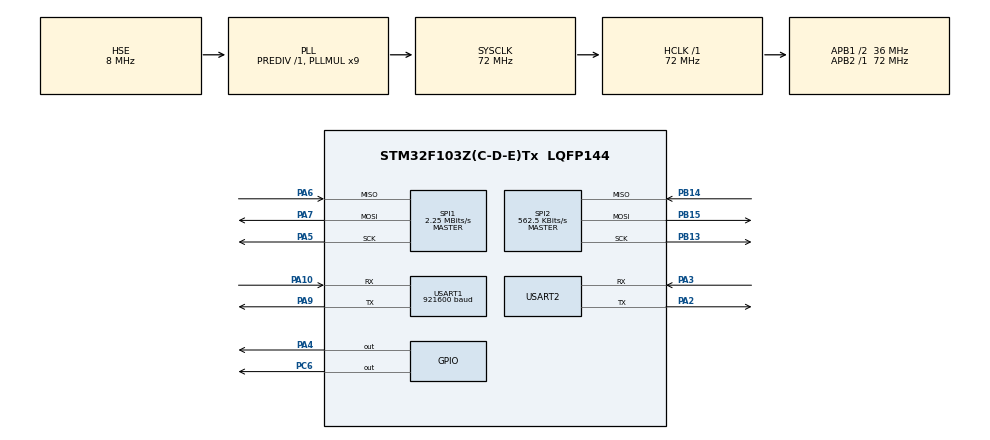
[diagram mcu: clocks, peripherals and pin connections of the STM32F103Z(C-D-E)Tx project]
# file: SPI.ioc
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Dma.Request0=USART1_RX
Dma.Request1=USART1_TX
Dma.Request2=SPI1_RX
Dma.Request3=SPI1_TX
Dma.SPI1_RX.2.Direction=DMA_PERIPH_TO_MEMORY
Dma.SPI1_RX.2.Instance=DMA1_Channel2
Dma.SPI1_RX.2.MemDataAlignment=DMA_MDATAALIGN_BYTE
Dma.SPI1_RX.2.MemInc=DMA_MINC_ENABLE
Dma.SPI1_RX.2.Mode=DMA_NORMAL
Dma.SPI1_RX.2.PeriphDataAlignment=DMA_PDATAALIGN_BYTE
Dma.SPI1_RX.2.PeriphInc=DMA_PINC_DISABLE
Dma.SPI1_RX.2.Priority=DMA_PRIORITY_HIGH
Dma.SPI1_TX.3.Direction=DMA_MEMORY_TO_PERIPH
Dma.SPI1_TX.3.Instance=DMA1_Channel3
Dma.SPI1_TX.3.MemDataAlignment=DMA_MDATAALIGN_BYTE
Dma.SPI1_TX.3.MemInc=DMA_MINC_ENABLE
Dma.SPI1_TX.3.Mode=DMA_NORMAL
Dma.SPI1_TX.3.PeriphDataAlignment=DMA_PDATAALIGN_BYTE
Dma.SPI1_TX.3.PeriphInc=DMA_PINC_DISABLE
Dma.SPI1_TX.3.Priority=DMA_PRIORITY_HIGH
Dma.USART1_RX.0.Direction=DMA_PERIPH_TO_MEMORY
Dma.USART1_RX.0.Instance=DMA1_Channel5
Dma.USART1_RX.0.MemDataAlignment=DMA_MDATAALIGN_BYTE
Dma.USART1_RX.0.MemInc=DMA_MINC_ENABLE
Dma.USART1_RX.0.Mode=DMA_NORMAL
Dma.USART1_RX.0.PeriphDataAlignment=DMA_PDATAALIGN_BYTE
Dma.USART1_RX.0.PeriphInc=DMA_PINC_DISABLE
Dma.USART1_RX.0.Priority=DMA_PRIORITY_MEDIUM
Dma.USART1_TX.1.Direction=DMA_MEMORY_TO_PERIPH
Dma.USART1_TX.1.Instance=DMA1_Channel4
Dma.USART1_TX.1.MemDataAlignment=DMA_MDATAALIGN_BYTE
Dma.USART1_TX.1.MemInc=DMA_MINC_ENABLE
Dma.USART1_TX.1.Mode=DMA_NORMAL
Dma.USART1_TX.1.PeriphDataAlignment=DMA_PDATAALIGN_BYTE
Dma.USART1_TX.1.PeriphInc=DMA_PINC_DISABLE
Dma.USART1_TX.1.Priority=DMA_PRIORITY_MEDIUM
Mcu.Family=STM32F1
Mcu.Name=STM32F103Z(C-D-E)Tx
Mcu.Package=LQFP144
NVIC.DMA1_Channel2_IRQn=true\:0\:0\:false\:false\:true\:false\:true\:true
NVIC.DMA1_Channel3_IRQn=true\:0\:0\:false\:false\:true\:false\:true\:true
NVIC.DMA1_Channel4_IRQn=true\:0\:0\:false\:false\:true\:false\:true\:true
NVIC.DMA1_Channel5_IRQn=true\:0\:0\:false\:false\:true\:false\:true\:true
NVIC.PriorityGroup=NVIC_PRIORITYGROUP_4
NVIC.SPI1_IRQn=true\:0\:0\:false\:false\:true\:true\:true\:true
NVIC.USART1_IRQn=true\:0\:0\:false\:false\:true\:true\:true\:true
NVIC.USART2_IRQn=true\:0\:0\:false\:false\:true\:true\:true\:true
OSC_IN.Mode=HSE-External-Oscillator
OSC_IN.Signal=RCC_OSC_IN
OSC_OUT.Mode=HSE-External-Oscillator
OSC_OUT.Signal=RCC_OSC_OUT
PA10.Mode=Asynchronous
PA10.Signal=USART1_RX
PA13.Mode=Serial_Wire
PA13.Signal=SYS_JTMS-SWDIO
PA14.Mode=Serial_Wire
PA14.Signal=SYS_JTCK-SWCLK
PA2.Mode=Asynchronous
PA2.Signal=USART2_TX
PA3.Mode=Asynchronous
PA3.Signal=USART2_RX
PA4.Signal=GPIO_Output
PA5.Mode=Full_Duplex_Master
PA5.Signal=SPI1_SCK
PA6.Mode=Full_Duplex_Master
PA6.Signal=SPI1_MISO
PA7.Mode=Full_Duplex_Master
PA7.Signal=SPI1_MOSI
PA9.Mode=Asynchronous
PA9.Signal=USART1_TX
PB13.Mode=Full_Duplex_Master
PB13.Signal=SPI2_SCK
PB14.Mode=Full_Duplex_Master
PB14.Signal=SPI2_MISO
PB15.Mode=Full_Duplex_Master
PB15.Signal=SPI2_MOSI
PC14-OSC32_IN.Mode=LSE-External-Oscillator
PC14-OSC32_IN.Signal=RCC_OSC32_IN
PC15-OSC32_OUT.Mode=LSE-External-Oscillator
PC15-OSC32_OUT.Signal=RCC_OSC32_OUT
PC6.Signal=GPIO_Output
ProjectManager.HeapSize=0x200
ProjectManager.StackSize=0x400
ProjectManager.TargetToolchain=Makefile
RCC.AHBFreq_Value=72000000
RCC.APB1CLKDivider=RCC_HCLK_DIV2
RCC.APB1Freq_Value=36000000
RCC.APB1TimFreq_Value=72000000
RCC.APB2Freq_Value=72000000
RCC.APB2TimFreq_Value=72000000
RCC.HCLKFreq_Value=72000000
RCC.PLLMUL=RCC_PLL_MUL9
RCC.PLLSourceVirtual=RCC_PLLSOURCE_HSE
RCC.SYSCLKFreq_VALUE=72000000
RCC.SYSCLKSource=RCC_SYSCLKSOURCE_PLLCLK
RCC.USBFreq_Value=72000000
SPI1.BaudRatePrescaler=SPI_BAUDRATEPRESCALER_32
SPI1.CLKPhase=SPI_PHASE_2EDGE
SPI1.CLKPolarity=SPI_POLARITY_HIGH
SPI1.CalculateBaudRate=2.25 MBits/s
SPI1.Direction=SPI_DIRECTION_2LINES
SPI1.Mode=SPI_MODE_MASTER
SPI1.VirtualType=VM_MASTER
SPI2.BaudRatePrescaler=SPI_BAUDRATEPRESCALER_64
SPI2.CLKPhase=SPI_PHASE_2EDGE
SPI2.CalculateBaudRate=562.5 KBits/s
SPI2.Direction=SPI_DIRECTION_2LINES
SPI2.Mode=SPI_MODE_MASTER
SPI2.VirtualType=VM_MASTER
USART1.BaudRate=921600
USART1.VirtualMode=VM_ASYNC
USART2.VirtualMode=VM_ASYNC
board=custom

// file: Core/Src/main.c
/* USER CODE BEGIN Header */
/**
  ******************************************************************************
  * @file           : main.c
  * @brief          : Main program body
  ******************************************************************************
  * @attention
  *
  * Copyright (c) 2025 STMicroelectronics.
  * All rights reserved.
  *
  * This software is licensed under terms that can be found in the LICENSE file
  * in the root directory of this software component.
  * If no LICENSE file comes with this software, it is provided AS-IS.
  *
  ******************************************************************************
  */
/* USER CODE END Header */
#include "main.h"
#include "dma.h"
#include "spi.h"
#include "usart.h"
#include "gpio.h"

/* USER CODE BEGIN Includes */
#include <string.h>
#include <stdio.h>
#include <stdarg.h>

/* USER CODE END Includes */

void SystemClock_Config(void);

int main(void)
{

  /* MCU Configuration--------------------------------------------------------*/

  /* Reset of all peripherals, Initializes the Flash interface and the Systick. */
  HAL_Init();

  /* Configure the system clock */
  SystemClock_Config();

  /* Initialize all configured peripherals */
  MX_GPIO_Init();
  MX_DMA_Init();
  MX_USART1_UART_Init();
  MX_SPI1_Init();
  MX_SPI2_Init();
  MX_USART2_UART_Init();
  /* USER CODE BEGIN 2 */
  uint32_t systemTick = 0;
  UsbPrintf("SPI TEST\n");
  SPI1_ReadID();//读自带W25Q
  //SPI2_Send();
  //25 07 29 30 24 26 82 96
  /* USER CODE END 2 */

  /* Infinite loop */
  while (1)
  {

    /* USER CODE BEGIN 3 */

    if(recv_end_flag == 1)  //接收完成标志
		{

			DMA_Usart_Send(rx_buffer, rx_len);
			rx_len = 0;//清除计数
			recv_end_flag = 0;//清除接收结束标志位
			memset(rx_buffer,0,rx_len);
    }
    //HAL_UART_Receive_DMA(&huart1,rx_buffer,BUFFER_SIZE);//重新打开DMA接收
    //HAL_Delay(1000);

    if (systemTick != HAL_GetTick())
    {

      if (systemTick % 1000 == 0)
      {
        // uint8_t i=0;
        // CS2_HIGH;
        // uint8_t send=0xB8;
        // uint8_t rece[7]={0x08};
        // if(HAL_SPI_Transmit(&hspi2, &send,  1, 1000) != HAL_OK)
        // {
        //   UsbPrintf("send2 error ");
        // }

        // if(HAL_SPI_Receive(&hspi2, rece,  7, 1000)!= HAL_OK)
        // {
        //   UsbPrintf("receive2 error ");
        // }
        // for(i = 0; i < 7; i++) {
        //   UsbPrintf("%02x ",rece[i]);
        // }
        // CS2_LOW;

      }
      systemTick = HAL_GetTick();
    }
  }
  /* USER CODE END 3 */
}

void SystemClock_Config(void)
{
  RCC_OscInitTypeDef RCC_OscInitStruct = {0};
  RCC_ClkInitTypeDef RCC_ClkInitStruct = {0};

  /** Initializes the RCC Oscillators according to the specified parameters
  * in the RCC_OscInitTypeDef structure.
  */
  RCC_OscInitStruct.OscillatorType = RCC_OSCILLATORTYPE_HSE;
  RCC_OscInitStruct.HSEState = RCC_HSE_ON;
  RCC_OscInitStruct.HSEPredivValue = RCC_HSE_PREDIV_DIV1;
  RCC_OscInitStruct.HSIState = RCC_HSI_ON;
  RCC_OscInitStruct.PLL.PLLState = RCC_PLL_ON;
  RCC_OscInitStruct.PLL.PLLSource = RCC_PLLSOURCE_HSE;
  RCC_OscInitStruct.PLL.PLLMUL = RCC_PLL_MUL9;
  if (HAL_RCC_OscConfig(&RCC_OscInitStruct) != HAL_OK)
  {
    Error_Handler();
  }

  /** Initializes the CPU, AHB and APB buses clocks
  */
  RCC_ClkInitStruct.ClockType = RCC_CLOCKTYPE_HCLK|RCC_CLOCKTYPE_SYSCLK
                              |RCC_CLOCKTYPE_PCLK1|RCC_CLOCKTYPE_PCLK2;
  RCC_ClkInitStruct.SYSCLKSource = RCC_SYSCLKSOURCE_PLLCLK;
  RCC_ClkInitStruct.AHBCLKDivider = RCC_SYSCLK_DIV1;
  RCC_ClkInitStruct.APB1CLKDivider = RCC_HCLK_DIV2;
  RCC_ClkInitStruct.APB2CLKDivider = RCC_HCLK_DIV1;

  if (HAL_RCC_ClockConfig(&RCC_ClkInitStruct, FLASH_LATENCY_2) != HAL_OK)
  {
    Error_Handler();
  }
}

/* USER CODE BEGIN 4 */

#define UART_TRANSMIT_BUFF_NUMBER   300
uint8_t g_UsbTxBuff[UART_TRANSMIT_BUFF_NUMBER] = {0};
void UsbPrintf(char* fmt,...)
{
	va_list ap;
	memset(g_UsbTxBuff, 0, UART_TRANSMIT_BUFF_NUMBER);
	va_start(ap, fmt);
	vsnprintf((char*)g_UsbTxBuff, UART_TRANSMIT_BUFF_NUMBER, fmt, ap);
	va_end(ap);
	HAL_UART_Transmit(&huart2, g_UsbTxBuff, strlen((char*)g_UsbTxBuff), 1000);
}
/* USER CODE END 4 */

void Error_Handler(void)
{
  __disable_irq();
  while (1)
  {
  }
}
